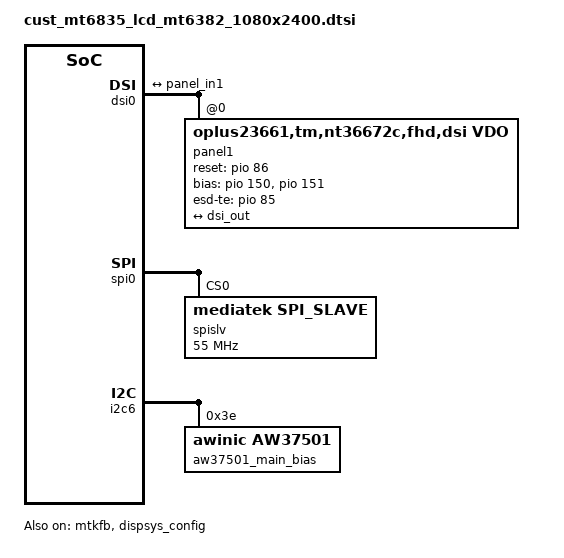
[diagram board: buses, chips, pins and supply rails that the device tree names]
&mtk_leds {
	compatible = "mediatek,disp-leds";

	backlight {
		label = "lcd-backlight";
		max-brightness = <4095>;
		max-hw-brightness = <4095>;
		led_mode = <4>;
		led-bits = <12>;
		trans-bits = <12>;
		default-state = "on";
	};
};

&pio {
    mtkfb_pins_lcm_rst_out1_gpio: lcm_rst_out1_gpio {
        pins_cmd_dat {
            pinmux = <PINMUX_GPIO86__FUNC_GPIO86>;
            slew-rate = <1>;
            output-high;
        };
    };

    mtkfb_pins_lcm_rst_out0_gpio: lcm_rst_out0_gpio {
        pins_cmd_dat {
            pinmux = <PINMUX_GPIO86__FUNC_GPIO86>;
            slew-rate = <1>;
            output-low;
        };
    };

    mtkfb_pins_lcm_dsi_te: lcm_dsi_te {
        pins_cmd_dat {
            pinmux = <PINMUX_GPIO85__FUNC_GPIO85>;
            slew-rate = <0>;
        };
    };

    mtkfb_pins_6382_rst_out1_gpio: 6382-rst-out1-gpio {
        pins_cmd_dat {
            pinmux = <PINMUX_GPIO92__FUNC_GPIO92>;
            slew-rate = <1>;
            output-high;
        };
    };
    mtkfb_pins_6382_rst_out0_gpio: 6382-rst-out0-gpio {
        pins_cmd_dat {
            pinmux = <PINMUX_GPIO92__FUNC_GPIO92>;
            slew-rate = <1>;
            output-low;
        };
    };
    mtkfb_pins_6382_pmic_26m_ctl0: 6382-pmic-26m-gpio-ctl0 {
            pins_cmd_dat {
            pinmux = <PINMUX_GPIO2__FUNC_SRCLKENAI0>;
            input-enable;
            slew-rate = <0>;
            bias-pull-down;
        };
    };
    mtkfb_pins_6382_pmic_26m_ctl1: 6382-pmic-26m-gpio-ctl1 {
            pins_cmd_dat {
            pinmux = <PINMUX_GPIO2__FUNC_SRCLKENAI0>;
            input-enable;
            slew-rate = <0>;
            bias-pull-up;
        };
    };

    mtkfb_pins_lcm_bias_enp1_gpio: lcm_bias_enp1_gpio {
        pins_cmd_dat {
            pinmux = <PINMUX_GPIO150__FUNC_GPIO150>;
            slew-rate = <1>;
            output-high;
        };
    };

    mtkfb_pins_lcm_bias_enp0_gpio: lcm_bias_enp0_gpio {
        pins_cmd_dat {
            pinmux = <PINMUX_GPIO150__FUNC_GPIO150>;
            slew-rate = <1>;
            output-low;
        };
    };

    mtkfb_pins_lcm_bias_enn1_gpio: lcm_bias_enn1_gpio {
        pins_cmd_dat {
            pinmux = <PINMUX_GPIO151__FUNC_GPIO151>;
            slew-rate = <1>;
            output-high;
        };
    };

    mtkfb_pins_lcm_bias_enn0_gpio: lcm_bias_enn0_gpio {
        pins_cmd_dat {
            pinmux = <PINMUX_GPIO151__FUNC_GPIO151>;
            slew-rate = <1>;
            output-low;
        };
    };

};

&mtkfb {
    pinctrl-names = "lcm_rst_out1_gpio", "lcm_rst_out0_gpio",
        "mode_te_te", "6382-rst-out1-gpio",
        "6382-rst-out0-gpio", "6382-pmic-26m-gpio-ctl0",
        "lcm_bias_enp1_gpio", "lcm_bias_enp0_gpio",
        "lcm_bias_enn1_gpio", "lcm_bias_enn0_gpio";
    pinctrl-0 = <&mtkfb_pins_lcm_rst_out1_gpio>;
    pinctrl-1 = <&mtkfb_pins_lcm_rst_out0_gpio>;
    pinctrl-2 = <&mtkfb_pins_lcm_dsi_te>;
    pinctrl-3 = <&mtkfb_pins_6382_rst_out1_gpio>;
    pinctrl-4 = <&mtkfb_pins_6382_rst_out0_gpio>;
    pinctrl-5 = <&mtkfb_pins_6382_pmic_26m_ctl0>;
    pinctrl-6 = <&mtkfb_pins_lcm_bias_enp1_gpio>;
    pinctrl-7 = <&mtkfb_pins_lcm_bias_enp0_gpio>;
    pinctrl-8 = <&mtkfb_pins_lcm_bias_enn1_gpio>;
    pinctrl-9 = <&mtkfb_pins_lcm_bias_enn0_gpio>;
    status = "okay";
};

&dispsys_config {
    pinctrl-names =
        "lcm_rst_out1_gpio", "lcm_rst_out0_gpio",
        "mode_te_te",
        "6382-rst-out1-gpio", "6382-rst-out0-gpio",
        "6382-pmic-26m-gpio-ctl0",
        "lcm_bias_enp1_gpio", "lcm_bias_enp0_gpio",
        "lcm_bias_enn1_gpio", "lcm_bias_enn0_gpio";
    pinctrl-0 = <&mtkfb_pins_lcm_rst_out1_gpio>;
    pinctrl-1 = <&mtkfb_pins_lcm_rst_out0_gpio>;
    pinctrl-2 = <&mtkfb_pins_lcm_dsi_te>;
    pinctrl-3 = <&mtkfb_pins_6382_rst_out1_gpio>;
    pinctrl-4 = <&mtkfb_pins_6382_rst_out0_gpio>;
    pinctrl-5 = <&mtkfb_pins_6382_pmic_26m_ctl0>;
    pinctrl-6 = <&mtkfb_pins_lcm_bias_enp1_gpio>;
    pinctrl-7 = <&mtkfb_pins_lcm_bias_enp0_gpio>;
    pinctrl-8 = <&mtkfb_pins_lcm_bias_enn1_gpio>;
    pinctrl-9 = <&mtkfb_pins_lcm_bias_enn0_gpio>;
    status = "okay";
};
&dsi0 {
    status = "okay";
    #address-cells = <1>;
    #size-cells = <0>;
    bdg-gpios = <&pio 92 0>;
    pinctrl-names = "6382-pmic-26m-gpio-ctl0", "6382-pmic-26m-gpio-ctl1";
    pinctrl-0 = <&mtkfb_pins_6382_pmic_26m_ctl0>;
    pinctrl-1 = <&mtkfb_pins_6382_pmic_26m_ctl1>;
    panel1@0 {
        compatible = "oplus23661,tm,nt36672c,fhd,dsi,vdo";
        reg = <0>;
        bdg-support=<1>;
        reset-gpios = <&pio 86 0>;
        bias-gpios = <&pio 150 0>, <&pio 151 0>;
        esd-te-gpios = <&pio 85 0>;
        pinctrl-names = "default";
        port {
            panel_in1: endpoint {
                remote-endpoint = <&dsi_out>;
            };
        };
    };
    ports {
        port {
            dsi_out: endpoint {
                remote-endpoint = <&panel_in1>;
            };
        };
    };
};

&spi0 {
	status = "okay";
	#address-cells = <1>;
	#size-cells = <0>;
	pinctrl-names = "default";
	pinctrl-0 = <&spislv_pins_default>;
	mediatek,autosuspend-delay = <10>;
	mediatek,fifo-polling = <1>;
	spislv@0 {
		compatible = "mediatek,spi_slave";
		reg = <0>;
		spi-max-frequency = <55000000>;
		spi-tx-bus-width = <1>;
		spi-rx-bus-width = <1>;
		slave-drive-strength = /bits/ 8 <3>;
	};
};
&pio {
    spislv_pins_default: spislv-mode-default {
        pins-cmd-dat {
            pinmux = <PINMUX_GPIO56__FUNC_SPI0_CLK>,
                <PINMUX_GPIO57__FUNC_SPI0_CSB>,
                <PINMUX_GPIO58__FUNC_SPI0_MO>,
                <PINMUX_GPIO59__FUNC_SPI0_MI>;
            drive-strength = <3>;
        };
    };
};

&bdgsupport {
    bdg: bridge {
        compatible = "mediatek,disp,bdg_enabled";
    };
};

&i2c6 {
    aw37501_main_bias: aw37501@0x3e {
        compatible = "awinic,aw37501";
        reg = <0x3e>;
        status = "okay";
    };
};

&disp_ccorr0 {
	ccorr_linear_per_pipe = <0x1>;
	ccorr_prim_force_linear = <0x1>;
	set_ccorr_force_linear = <1>;
};

#include "mediatek/cust_evb6835.dtsi"
